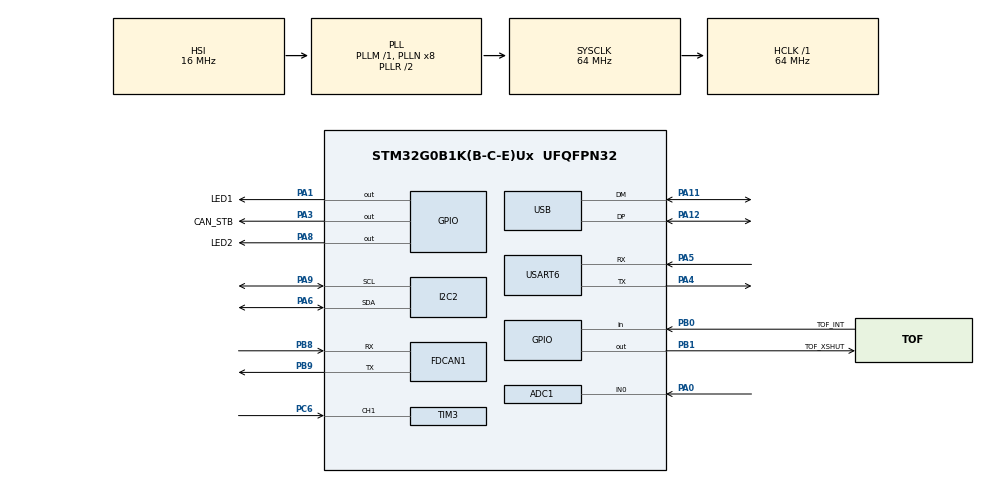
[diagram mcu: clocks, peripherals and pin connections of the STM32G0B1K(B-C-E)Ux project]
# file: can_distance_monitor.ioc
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ADC1.Channel-0\#ChannelRegularConversion=ADC_CHANNEL_0
ADC1.NbrOfConversionFlag=1
ADC1.Rank-0\#ChannelRegularConversion=1
ADC1.SamplingTime-0\#ChannelRegularConversion=ADC_SAMPLINGTIME_COMMON_1
ADC1.SelectedChannel=ADC_CHANNEL_0|ADC_CHANNEL_TEMPSENSOR|ADC_CHANNEL_VREFINT
ADC1.master=1
FDCAN1.AutoRetransmission=ENABLE
FDCAN1.CalculateBaudRateNominal=1000000
FDCAN1.CalculateTimeBitNominal=1000
FDCAN1.CalculateTimeQuantumNominal=62.5
FDCAN1.NominalPrescaler=4
FDCAN1.NominalTimeSeg1=12
FDCAN1.NominalTimeSeg2=3
FREERTOS.Tasks01=defaultTask,24,4096,StartDefaultTask,Default,NULL,Dynamic,NULL,NULL
FREERTOS.configGENERATE_RUN_TIME_STATS=1
FREERTOS.configTOTAL_HEAP_SIZE=20000
FREERTOS.configUSE_NEWLIB_REENTRANT=0
I2C2.Timing=0x10B17DB5
Mcu.Family=STM32G0
Mcu.Name=STM32G0B1K(B-C-E)Ux
Mcu.Package=UFQFPN32
NVIC.ADC1_COMP_IRQn=true\:3\:0\:false\:false\:true\:true\:true\:true\:true
NVIC.I2C2_3_IRQn=true\:3\:0\:false\:false\:true\:true\:true\:true\:true
NVIC.RCC_IRQn=true\:3\:0\:false\:false\:true\:true\:true\:false\:true
NVIC.TIM16_FDCAN_IT0_IRQn=true\:3\:0\:false\:false\:true\:true\:true\:true\:true
NVIC.TIM17_FDCAN_IT1_IRQn=true\:3\:0\:false\:false\:true\:true\:true\:true\:true
NVIC.TIM3_TIM4_IRQn=true\:3\:0\:false\:false\:true\:true\:true\:true\:true
NVIC.TIM6_DAC_LPTIM1_IRQn=true\:3\:0\:false\:false\:true\:false\:false\:true\:true
NVIC.TimeBase=TIM6_DAC_LPTIM1_IRQn
NVIC.TimeBaseIP=TIM6
NVIC.USART3_4_5_6_LPUART1_IRQn=true\:3\:0\:false\:false\:true\:true\:true\:true\:true
NVIC.USB_UCPD1_2_IRQn=true\:3\:0\:false\:false\:true\:true\:true\:true\:true
PA0.Mode=IN0
PA0.Signal=ADC1_IN0
PA1.GPIO_Label=LED1
PA1.Signal=GPIO_Output
PA11\ [PA9].Mode=Device
PA11\ [PA9].Signal=USB_DM
PA12\ [PA10].Mode=Device
PA12\ [PA10].Signal=USB_DP
PA13.Mode=Serial_Wire
PA13.Signal=SYS_SWDIO
PA14-BOOT0.Mode=Serial_Wire
PA14-BOOT0.Signal=SYS_SWCLK
PA3.GPIO_Label=CAN_STB
PA3.Signal=GPIO_Output
PA4.Mode=Asynchronous
PA4.Signal=USART6_TX
PA5.Mode=Asynchronous
PA5.Signal=USART6_RX
PA6.Mode=I2C
PA6.Signal=I2C2_SDA
PA8.GPIO_Label=LED2
PA8.Signal=GPIO_Output
PA9.Mode=I2C
PA9.Signal=I2C2_SCL
PB0.GPIO_Label=TOF_INT
PB0.Signal=GPIO_Input
PB1.GPIO_Label=TOF_XSHUT
PB1.GPIO_ModeDefaultOutputPP=GPIO_MODE_OUTPUT_OD
PB1.GPIO_PuPd=GPIO_NOPULL
PB1.PinState=GPIO_PIN_SET
PB1.Signal=GPIO_Output
PB8.Mode=FDCAN_Activate
PB8.Signal=FDCAN1_RX
PB9.Mode=FDCAN_Activate
PB9.Signal=FDCAN1_TX
PC14-OSC32_IN\ (PC14).Mode=HSE-External-Clock-Source
PC14-OSC32_IN\ (PC14).Signal=RCC_OSC_IN
PC15-OSC32_OUT\ (PC15).Mode=OSC enable
PC15-OSC32_OUT\ (PC15).Signal=RCC_OSC_EN
PC6.Signal=S_TIM3_CH1
ProjectManager.HeapSize=0x200
ProjectManager.StackSize=0x400
ProjectManager.TargetToolchain=CMake
RCC.ADCFreq_Value=64000000
RCC.AHBFreq_Value=64000000
RCC.CortexFreq_Value=64000000
RCC.EXTERNAL_CLOCK_VALUE=48000
RCC.HCLKFreq_Value=64000000
RCC.HSE_VALUE=16000000
RCC.HSI48_VALUE=48000000
RCC.HSI_VALUE=16000000
RCC.LSE_VALUE=32768
RCC.SYSCLKFreq_VALUE=64000000
RCC.SYSCLKSource=RCC_SYSCLKSOURCE_PLLCLK
RCC.USBFreq_Value=48000000
RCC.VCOOutputFreq_Value=128000000
SH.S_TIM3_CH1.0=TIM3_CH1,Input_Capture1_from_TI1
TIM3.Channel-Input_Capture1_from_TI1=TIM_CHANNEL_1
TIM3.Prescaler=63
USART6.VirtualMode-Asynchronous=VM_ASYNC
USB_DEVICE.CLASS_NAME_FS=CDC
USB_DEVICE.USBD_DEBUG_LEVEL=3
USB_DEVICE.VirtualMode=Cdc
USB_DEVICE.VirtualModeFS=Cdc_FS
VP_ADC1_TempSens_Input.Mode=IN-TempSens
VP_ADC1_Vref_Input.Mode=IN-Vrefint
VP_FREERTOS_VS_CMSIS_V2.Mode=CMSIS_V2
VP_SYS_VS_DBSignals.Mode=DisableDeadBatterySignals
VP_SYS_VS_tim6.Mode=TIM6
VP_TIM3_VS_ClockSourceINT.Mode=Internal
VP_USB_DEVICE_VS_USB_DEVICE_CDC_FS.Mode=CDC_FS
board=custom

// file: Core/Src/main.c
/* USER CODE BEGIN Header */
/**
  ******************************************************************************
  * @file           : main.c
  * @brief          : Main program body
  ******************************************************************************
  * @attention
  *
  * Copyright (c) 2025 STMicroelectronics.
  * All rights reserved.
  *
  * This software is licensed under terms that can be found in the LICENSE file
  * in the root directory of this software component.
  * If no LICENSE file comes with this software, it is provided AS-IS.
  *
  ******************************************************************************
  */
/* USER CODE END Header */
#include "main.h"
#include "cmsis_os.h"
#include "usb_device.h"

/* USER CODE BEGIN Includes */
#include <usbd_cdc_if.h>
#include "vl53l0x_api.h"
#include "vl53l0x_platform.h"
#include <stdio.h>
/* USER CODE END Includes */

/* USER CODE BEGIN PM */
#define WPILIB_DEVICE_TYPE 	10 << 24
#define WPILIB_MFG_CODE 	20 << 16
#define WPILIB_API_CLASS	5 << 10
#define WPILIB_API_INDEX    0 << 6
#define WPILIB_DEV_NUM		0
#define WPILIB_CAN_ID WPILIB_DEVICE_TYPE | WPILIB_MFG_CODE | WPILIB_API_CLASS | WPILIB_API_INDEX | WPILIB_DEV_NUM

/* USER CODE END PM */

ADC_HandleTypeDef hadc1;

FDCAN_HandleTypeDef hfdcan1;

I2C_HandleTypeDef hi2c2;

TIM_HandleTypeDef htim3;

UART_HandleTypeDef huart6;

/* Definitions for defaultTask */
osThreadId_t defaultTaskHandle;
const osThreadAttr_t defaultTask_attributes = {
  .name = "defaultTask",
  .priority = (osPriority_t) osPriorityNormal,
  .stack_size = 4096 * 4
};

void SystemClock_Config(void);
static void MX_GPIO_Init(void);
static void MX_ADC1_Init(void);
static void MX_FDCAN1_Init(void);
static void MX_TIM3_Init(void);
static void MX_USART6_UART_Init(void);
static void MX_I2C2_Init(void);
void StartDefaultTask(void *argument);

int main(void)
{

  /* MCU Configuration--------------------------------------------------------*/

  /* Reset of all peripherals, Initializes the Flash interface and the Systick. */
  HAL_Init();

  /* Configure the system clock */
  SystemClock_Config();

  /* Initialize all configured peripherals */
  MX_GPIO_Init();
  MX_ADC1_Init();
  MX_FDCAN1_Init();
  MX_TIM3_Init();
  MX_USART6_UART_Init();
  MX_I2C2_Init();

  /* Init scheduler */
  osKernelInitialize();

  /* Create the thread(s) */
  /* creation of defaultTask */
  defaultTaskHandle = osThreadNew(StartDefaultTask, NULL, &defaultTask_attributes);

  /* Start scheduler */
  osKernelStart();

  /* We should never get here as control is now taken by the scheduler */

  /* Infinite loop */
  while (1)
  {

  }
}

void SystemClock_Config(void)
{
  RCC_OscInitTypeDef RCC_OscInitStruct = {0};
  RCC_ClkInitTypeDef RCC_ClkInitStruct = {0};

  /** Configure the main internal regulator output voltage
  */
  HAL_PWREx_ControlVoltageScaling(PWR_REGULATOR_VOLTAGE_SCALE1);

  /** Initializes the RCC Oscillators according to the specified parameters
  * in the RCC_OscInitTypeDef structure.
  */
  RCC_OscInitStruct.OscillatorType = RCC_OSCILLATORTYPE_HSI|RCC_OSCILLATORTYPE_HSI48;
  RCC_OscInitStruct.HSIState = RCC_HSI_ON;
  RCC_OscInitStruct.HSI48State = RCC_HSI48_ON;
  RCC_OscInitStruct.HSIDiv = RCC_HSI_DIV1;
  RCC_OscInitStruct.HSICalibrationValue = RCC_HSICALIBRATION_DEFAULT;
  RCC_OscInitStruct.PLL.PLLState = RCC_PLL_ON;
  RCC_OscInitStruct.PLL.PLLSource = RCC_PLLSOURCE_HSI;
  RCC_OscInitStruct.PLL.PLLM = RCC_PLLM_DIV1;
  RCC_OscInitStruct.PLL.PLLN = 8;
  RCC_OscInitStruct.PLL.PLLP = RCC_PLLP_DIV2;
  RCC_OscInitStruct.PLL.PLLQ = RCC_PLLQ_DIV2;
  RCC_OscInitStruct.PLL.PLLR = RCC_PLLR_DIV2;
  if (HAL_RCC_OscConfig(&RCC_OscInitStruct) != HAL_OK)
  {
    Error_Handler();
  }

  /** Initializes the CPU, AHB and APB buses clocks
  */
  RCC_ClkInitStruct.ClockType = RCC_CLOCKTYPE_HCLK|RCC_CLOCKTYPE_SYSCLK
                              |RCC_CLOCKTYPE_PCLK1;
  RCC_ClkInitStruct.SYSCLKSource = RCC_SYSCLKSOURCE_PLLCLK;
  RCC_ClkInitStruct.AHBCLKDivider = RCC_SYSCLK_DIV1;
  RCC_ClkInitStruct.APB1CLKDivider = RCC_HCLK_DIV1;

  if (HAL_RCC_ClockConfig(&RCC_ClkInitStruct, FLASH_LATENCY_2) != HAL_OK)
  {
    Error_Handler();
  }
}

static void MX_ADC1_Init(void)
{

  ADC_ChannelConfTypeDef sConfig = {0};

  /** Configure the global features of the ADC (Clock, Resolution, Data Alignment and number of conversion)
  */
  hadc1.Instance = ADC1;
  hadc1.Init.ClockPrescaler = ADC_CLOCK_SYNC_PCLK_DIV2;
  hadc1.Init.Resolution = ADC_RESOLUTION_12B;
  hadc1.Init.DataAlign = ADC_DATAALIGN_RIGHT;
  hadc1.Init.ScanConvMode = ADC_SCAN_DISABLE;
  hadc1.Init.EOCSelection = ADC_EOC_SINGLE_CONV;
  hadc1.Init.LowPowerAutoWait = DISABLE;
  hadc1.Init.LowPowerAutoPowerOff = DISABLE;
  hadc1.Init.ContinuousConvMode = DISABLE;
  hadc1.Init.NbrOfConversion = 1;
  hadc1.Init.DiscontinuousConvMode = DISABLE;
  hadc1.Init.ExternalTrigConv = ADC_SOFTWARE_START;
  hadc1.Init.ExternalTrigConvEdge = ADC_EXTERNALTRIGCONVEDGE_NONE;
  hadc1.Init.DMAContinuousRequests = DISABLE;
  hadc1.Init.Overrun = ADC_OVR_DATA_PRESERVED;
  hadc1.Init.SamplingTimeCommon1 = ADC_SAMPLETIME_1CYCLE_5;
  hadc1.Init.SamplingTimeCommon2 = ADC_SAMPLETIME_1CYCLE_5;
  hadc1.Init.OversamplingMode = DISABLE;
  hadc1.Init.TriggerFrequencyMode = ADC_TRIGGER_FREQ_HIGH;
  if (HAL_ADC_Init(&hadc1) != HAL_OK)
  {
    Error_Handler();
  }

  /** Configure Regular Channel
  */
  sConfig.Channel = ADC_CHANNEL_0;
  sConfig.Rank = ADC_REGULAR_RANK_1;
  sConfig.SamplingTime = ADC_SAMPLINGTIME_COMMON_1;
  if (HAL_ADC_ConfigChannel(&hadc1, &sConfig) != HAL_OK)
  {
    Error_Handler();
  }

}

static void MX_FDCAN1_Init(void)
{

  hfdcan1.Instance = FDCAN1;
  hfdcan1.Init.ClockDivider = FDCAN_CLOCK_DIV1;
  hfdcan1.Init.FrameFormat = FDCAN_FRAME_CLASSIC;
  hfdcan1.Init.Mode = FDCAN_MODE_NORMAL;
  hfdcan1.Init.AutoRetransmission = ENABLE;
  hfdcan1.Init.TransmitPause = DISABLE;
  hfdcan1.Init.ProtocolException = DISABLE;
  hfdcan1.Init.NominalPrescaler = 4;
  hfdcan1.Init.NominalSyncJumpWidth = 1;
  hfdcan1.Init.NominalTimeSeg1 = 12;
  hfdcan1.Init.NominalTimeSeg2 = 3;
  hfdcan1.Init.DataPrescaler = 1;
  hfdcan1.Init.DataSyncJumpWidth = 1;
  hfdcan1.Init.DataTimeSeg1 = 1;
  hfdcan1.Init.DataTimeSeg2 = 1;
  hfdcan1.Init.StdFiltersNbr = 0;
  hfdcan1.Init.ExtFiltersNbr = 0;
  hfdcan1.Init.TxFifoQueueMode = FDCAN_TX_FIFO_OPERATION;
  if (HAL_FDCAN_Init(&hfdcan1) != HAL_OK)
  {
    Error_Handler();
  }

}

static void MX_I2C2_Init(void)
{

  hi2c2.Instance = I2C2;
  hi2c2.Init.Timing = 0x10B17DB5;
  hi2c2.Init.OwnAddress1 = 0;
  hi2c2.Init.AddressingMode = I2C_ADDRESSINGMODE_7BIT;
  hi2c2.Init.DualAddressMode = I2C_DUALADDRESS_DISABLE;
  hi2c2.Init.OwnAddress2 = 0;
  hi2c2.Init.OwnAddress2Masks = I2C_OA2_NOMASK;
  hi2c2.Init.GeneralCallMode = I2C_GENERALCALL_DISABLE;
  hi2c2.Init.NoStretchMode = I2C_NOSTRETCH_DISABLE;
  if (HAL_I2C_Init(&hi2c2) != HAL_OK)
  {
    Error_Handler();
  }

  /** Configure Analogue filter
  */
  if (HAL_I2CEx_ConfigAnalogFilter(&hi2c2, I2C_ANALOGFILTER_ENABLE) != HAL_OK)
  {
    Error_Handler();
  }

  /** Configure Digital filter
  */
  if (HAL_I2CEx_ConfigDigitalFilter(&hi2c2, 0) != HAL_OK)
  {
    Error_Handler();
  }

}

static void MX_TIM3_Init(void)
{

  TIM_ClockConfigTypeDef sClockSourceConfig = {0};
  TIM_MasterConfigTypeDef sMasterConfig = {0};
  TIM_IC_InitTypeDef sConfigIC = {0};

  htim3.Instance = TIM3;
  htim3.Init.Prescaler = 63;
  htim3.Init.CounterMode = TIM_COUNTERMODE_UP;
  htim3.Init.Period = 65535;
  htim3.Init.ClockDivision = TIM_CLOCKDIVISION_DIV1;
  htim3.Init.AutoReloadPreload = TIM_AUTORELOAD_PRELOAD_DISABLE;
  if (HAL_TIM_Base_Init(&htim3) != HAL_OK)
  {
    Error_Handler();
  }
  sClockSourceConfig.ClockSource = TIM_CLOCKSOURCE_INTERNAL;
  if (HAL_TIM_ConfigClockSource(&htim3, &sClockSourceConfig) != HAL_OK)
  {
    Error_Handler();
  }
  if (HAL_TIM_IC_Init(&htim3) != HAL_OK)
  {
    Error_Handler();
  }
  sMasterConfig.MasterOutputTrigger = TIM_TRGO_RESET;
  sMasterConfig.MasterSlaveMode = TIM_MASTERSLAVEMODE_DISABLE;
  if (HAL_TIMEx_MasterConfigSynchronization(&htim3, &sMasterConfig) != HAL_OK)
  {
    Error_Handler();
  }
  sConfigIC.ICPolarity = TIM_INPUTCHANNELPOLARITY_RISING;
  sConfigIC.ICSelection = TIM_ICSELECTION_DIRECTTI;
  sConfigIC.ICPrescaler = TIM_ICPSC_DIV1;
  sConfigIC.ICFilter = 0;
  if (HAL_TIM_IC_ConfigChannel(&htim3, &sConfigIC, TIM_CHANNEL_1) != HAL_OK)
  {
    Error_Handler();
  }

}

static void MX_USART6_UART_Init(void)
{

  huart6.Instance = USART6;
  huart6.Init.BaudRate = 115200;
  huart6.Init.WordLength = UART_WORDLENGTH_8B;
  huart6.Init.StopBits = UART_STOPBITS_1;
  huart6.Init.Parity = UART_PARITY_NONE;
  huart6.Init.Mode = UART_MODE_TX_RX;
  huart6.Init.HwFlowCtl = UART_HWCONTROL_NONE;
  huart6.Init.OverSampling = UART_OVERSAMPLING_16;
  huart6.Init.OneBitSampling = UART_ONE_BIT_SAMPLE_DISABLE;
  huart6.Init.ClockPrescaler = UART_PRESCALER_DIV1;
  huart6.AdvancedInit.AdvFeatureInit = UART_ADVFEATURE_NO_INIT;
  if (HAL_UART_Init(&huart6) != HAL_OK)
  {
    Error_Handler();
  }

}

static void MX_GPIO_Init(void)
{
  GPIO_InitTypeDef GPIO_InitStruct = {0};

  /* GPIO Ports Clock Enable */
  __HAL_RCC_GPIOB_CLK_ENABLE();
  __HAL_RCC_GPIOC_CLK_ENABLE();
  __HAL_RCC_GPIOA_CLK_ENABLE();

  /*Configure GPIO pin Output Level */
  HAL_GPIO_WritePin(GPIOA, LED1_Pin|CAN_STB_Pin|LED2_Pin, GPIO_PIN_RESET);

  /*Configure GPIO pin Output Level */
  HAL_GPIO_WritePin(TOF_XSHUT_GPIO_Port, TOF_XSHUT_Pin, GPIO_PIN_SET);

  /*Configure GPIO pin : PC15 */
  GPIO_InitStruct.Pin = GPIO_PIN_15;
  GPIO_InitStruct.Mode = GPIO_MODE_AF_PP;
  GPIO_InitStruct.Pull = GPIO_NOPULL;
  GPIO_InitStruct.Speed = GPIO_SPEED_FREQ_LOW;
  GPIO_InitStruct.Alternate = GPIO_AF1_OSC;
  HAL_GPIO_Init(GPIOC, &GPIO_InitStruct);

  /*Configure GPIO pins : LED1_Pin CAN_STB_Pin LED2_Pin */
  GPIO_InitStruct.Pin = LED1_Pin|CAN_STB_Pin|LED2_Pin;
  GPIO_InitStruct.Mode = GPIO_MODE_OUTPUT_PP;
  GPIO_InitStruct.Pull = GPIO_NOPULL;
  GPIO_InitStruct.Speed = GPIO_SPEED_FREQ_LOW;
  HAL_GPIO_Init(GPIOA, &GPIO_InitStruct);

  /*Configure GPIO pin : TOF_INT_Pin */
  GPIO_InitStruct.Pin = TOF_INT_Pin;
  GPIO_InitStruct.Mode = GPIO_MODE_INPUT;
  GPIO_InitStruct.Pull = GPIO_NOPULL;
  HAL_GPIO_Init(TOF_INT_GPIO_Port, &GPIO_InitStruct);

  /*Configure GPIO pin : TOF_XSHUT_Pin */
  GPIO_InitStruct.Pin = TOF_XSHUT_Pin;
  GPIO_InitStruct.Mode = GPIO_MODE_OUTPUT_OD;
  GPIO_InitStruct.Pull = GPIO_NOPULL;
  GPIO_InitStruct.Speed = GPIO_SPEED_FREQ_LOW;
  HAL_GPIO_Init(TOF_XSHUT_GPIO_Port, &GPIO_InitStruct);

}

/* USER CODE BEGIN 4 */
void txstring(const char * str, int len)
{
    CDC_Transmit_FS((uint8_t*)str, len);
}

void print_pal_error(char * prefix, VL53L0X_Error Status){
    char buf[VL53L0X_MAX_STRING_LENGTH];
    char bigbuf[VL53L0X_MAX_STRING_LENGTH + 100];
    VL53L0X_GetPalErrorString(Status, buf);
    int len = snprintf((char *)bigbuf, sizeof(bigbuf), "%s: API Status: %i : %s\n", prefix, Status, buf);
    txstring((char *)bigbuf, len);
}

void print_range_status(VL53L0X_RangingMeasurementData_t* pRangingMeasurementData){
    char buf[VL53L0X_MAX_STRING_LENGTH];
    char bigbuf[VL53L0X_MAX_STRING_LENGTH + 100];
    uint8_t RangeStatus;

    /*
     * New Range Status: data is valid when pRangingMeasurementData->RangeStatus = 0
     */

    RangeStatus = pRangingMeasurementData->RangeStatus;

    VL53L0X_GetRangeStatusString(RangeStatus, buf);
    int len = snprintf((char *)bigbuf, sizeof(bigbuf), "Range Status: %i : %s\n", RangeStatus, buf);
    txstring((char *)bigbuf, len);
}

VL53L0X_Error WaitMeasurementDataReady(VL53L0X_DEV Dev) {
    VL53L0X_Error Status = VL53L0X_ERROR_NONE;
    uint8_t NewDatReady=0;
    uint32_t LoopNb;

    // Wait until it finished
    // use timeout to avoid deadlock
    if (Status == VL53L0X_ERROR_NONE) {
        LoopNb = 0;
        do {
            Status = VL53L0X_GetMeasurementDataReady(Dev, &NewDatReady);
            if ((NewDatReady == 0x01) || Status != VL53L0X_ERROR_NONE) {
                break;
            }
            LoopNb = LoopNb + 1;
            VL53L0X_PollingDelay(Dev);
        } while (LoopNb < VL53L0X_DEFAULT_MAX_LOOP);

        if (LoopNb >= VL53L0X_DEFAULT_MAX_LOOP) {
            Status = VL53L0X_ERROR_TIME_OUT;
        }
    }

    return Status;
}

/* USER CODE END 4 */

void StartDefaultTask(void *argument)
{
  /* init code for USB_Device */
  MX_USB_Device_Init();
  /* USER CODE BEGIN 5 */
    char buffer[512];
    HAL_GPIO_WritePin(TOF_XSHUT_GPIO_Port, TOF_XSHUT_Pin, 1);
    HAL_GPIO_WritePin(CAN_STB_GPIO_Port, CAN_STB_Pin, 0);
    osDelay(1000);

    /* Start TIM3 and input-capture on CH1 and CH2 for frequency measurement */
    HAL_TIM_Base_Start(&htim3);
    HAL_TIM_IC_Start(&htim3, TIM_CHANNEL_1);
    HAL_TIM_IC_Start(&htim3, TIM_CHANNEL_2);

    CDC_EnableBuffering();

#if 1
    VL53L0X_Error Status = VL53L0X_ERROR_NONE;
    VL53L0X_RangingMeasurementData_t    RangingMeasurementData;
    FixPoint1616_t LimitCheckCurrent;
    uint32_t refSpadCount;
    uint8_t isApertureSpads;
    uint8_t VhvSettings;
    uint8_t PhaseCal;
   /* Initialize VL53L0X sensor */
    VL53L0X_Dev_t VL53L0X_Device;
    txstring("Hello, World!\n", 15);
    /* Transmit a CAN message on FDCAN1 */
    FDCAN_TxHeaderTypeDef TxHeader;
    uint8_t TxData[8] = {0x01,0x02,0x03,0x04,0x05,0x06,0x07,0x08};
    uint32_t TxMailbox;
    TxHeader.Identifier = 0x123;          /* Standard ID */
    TxHeader.IdType = FDCAN_STANDARD_ID;
    TxHeader.TxFrameType = FDCAN_DATA_FRAME;
    TxHeader.DataLength = FDCAN_DLC_BYTES_8;
    TxHeader.ErrorStateIndicator = FDCAN_ESI_ACTIVE;
    TxHeader.BitRateSwitch = FDCAN_BRS_OFF;
    TxHeader.FDFormat = FDCAN_FD_CAN;
    TxHeader.TxEventFifoControl = FDCAN_NO_TX_EVENTS;
    TxHeader.MessageMarker = 0;
    // if (HAL_FDCAN_AddMessageToTxFifoQ(&hfdcan1, &TxHeader, TxData) != HAL_OK)
    // {
    //   /* Transmission request Error */
    //   Error_Handler();
    // }
    VL53L0X_Device.I2cDevAddr = 0x29;
    VL53L0X_Device.comms_type = 0;
    VL53L0X_Device.comms_speed_khz = 400;

    HAL_GPIO_WritePin(TOF_XSHUT_GPIO_Port, TOF_XSHUT_Pin, GPIO_PIN_SET);
    osDelay(100);

    if(Status == VL53L0X_ERROR_NONE)
    {
        Status = VL53L0X_StaticInit(&VL53L0X_Device); // Device Initialization
        print_pal_error("VL53L0X_StaticInit", Status);
    }

    VL53L0X_SetRangeFractionEnable(&VL53L0X_Device, 0); // Device Initialization

    if(Status == VL53L0X_ERROR_NONE)
    {
        Status = VL53L0X_PerformRefCalibration(&VL53L0X_Device,
        		&VhvSettings, &PhaseCal); // Device Initialization
        print_pal_error("VL53L0X_PerformRefCalibration", Status);
    }

    if(Status == VL53L0X_ERROR_NONE)
    {
        Status = VL53L0X_PerformRefSpadManagement(&VL53L0X_Device,
        		&refSpadCount, &isApertureSpads); // Device Initialization
        //printf ("refSpadCount = %ld, isApertureSpads = %d\n", refSpadCount, isApertureSpads);
        print_pal_error("VL53L0X_PerformRefSpadManagement", Status);
    }

    if(Status == VL53L0X_ERROR_NONE)
    {

        // no need to do this when we use VL53L0X_PerformSingleRangingMeasurement
        Status = VL53L0X_SetDeviceMode(&VL53L0X_Device, VL53L0X_DEVICEMODE_CONTINUOUS_RANGING); // Setup in single ranging mode
        print_pal_error("VL53L0X_SetDeviceMode", Status);
    }

    if (Status == VL53L0X_ERROR_NONE) {
        Status = VL53L0X_SetMeasurementTimingBudgetMicroSeconds(&VL53L0X_Device, 30000);
    }

    if(Status == VL53L0X_ERROR_NONE)
    {
        Status = VL53L0X_StartMeasurement(&VL53L0X_Device);
        print_pal_error("VL53L0X_StartMeasurement", Status);
    }

    /*
     *  Step  4 : Test ranging mode
     */

    if(Status == VL53L0X_ERROR_NONE)
    {
        uint32_t start = osKernelGetSysTimerCount();
        uint32_t cpuClk = osKernelGetSysTimerFreq() / 1000000;
        while (1)
        {
            uint32_t stop = osKernelGetSysTimerCount();
            uint32_t elapsed = (stop - start) / cpuClk;
            start = stop;
            HAL_GPIO_TogglePin(LED1_GPIO_Port, LED1_Pin);

            Status = WaitMeasurementDataReady(&VL53L0X_Device);
            if(Status == VL53L0X_ERROR_NONE)
            {
                Status = VL53L0X_GetRangingMeasurementData(&VL53L0X_Device,
                        &RangingMeasurementData);
            }
            VL53L0X_GetLimitCheckCurrent(&VL53L0X_Device,
            		VL53L0X_CHECKENABLE_RANGE_IGNORE_THRESHOLD, &LimitCheckCurrent);

            int len;
            // len = snprintf(buffer, sizeof(buffer), "RANGE IGNORE THRESHOLD: %f\n\n", (float)LimitCheckCurrent/65536.0);
            // txstring(buffer, len);
            // osDelay(100);

            if (Status != VL53L0X_ERROR_NONE) break;
            len = snprintf(buffer, sizeof(buffer), "RangeMilliMeter: %d mm / MaxRangeMilliMeter: %d mm / RangeStatus: %d / SignalRate: %d kcps / AmbientRate: %d kcps / Elapsed: %d us\r\n",
                     (int)RangingMeasurementData.RangeMilliMeter,
                     (int)RangingMeasurementData.RangeDMaxMilliMeter,
                     (int)RangingMeasurementData.RangeStatus,
                     (int)RangingMeasurementData.SignalRateRtnMegaCps,
                     (int)RangingMeasurementData.AmbientRateRtnMegaCps,
                    (int)elapsed);
            txstring(buffer, len);
        }
    }
#endif
    while (1)
    {
        osDelay(1000);
        HAL_GPIO_TogglePin(LED2_GPIO_Port, LED2_Pin);
        // snprintf(buffer, sizeof(buffer), "Heartbeat %ld\n", HAL_GetTick());
        // txstring(buffer, strlen(buffer));
        // const char * msg = "The quick brown fox jumps over the lazy dog.\n";
        // txstring(msg, strlen(msg));
      }
  /* USER CODE END 5 */
}

void HAL_TIM_PeriodElapsedCallback(TIM_HandleTypeDef *htim)
{
  if (htim->Instance == TIM6)
  {
    HAL_IncTick();
  }
}

void Error_Handler(void)
{
  __disable_irq();
  while (1)
  {
  }
}
